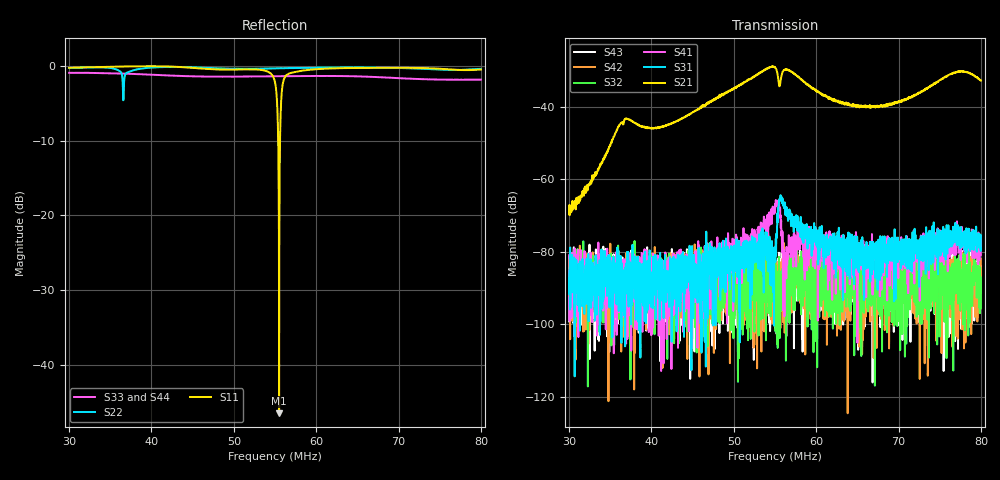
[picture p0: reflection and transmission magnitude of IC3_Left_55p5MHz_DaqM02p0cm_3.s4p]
#  HZ  S  DB  R  50.00
! Rohde & Schwarz Vector Network Analyzer
! Rohde-Schwarz,ZNB8-4Port,1311601044102961,2.82
! Created: UTC 2/13/2019, 9:01:49 AM
! freq[Hz]  db:S11  ang:S11  db:S12  ang:S12  db:S13  ang:S13  db:S14  ang:S14
!  db:S21  ang:S21  db:S22  ang:S22  db:S23  ang:S23  db:S24  ang:S24
!  db:S31  ang:S31  db:S32  ang:S32  db:S33  ang:S33  db:S34  ang:S34
!  db:S41  ang:S41  db:S42  ang:S42  db:S43  ang:S43  db:S44  ang:S44
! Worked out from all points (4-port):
!   2001 points, 30 MHz to 80 MHz, reference 50 ohm
!   strongest paths, dB at 30 MHz, 42.5 MHz, 55 MHz, 67.5 MHz, 80 MHz:
!     S21: -68.6, -44.5, -29.2, -40.1, -32.8
!     S31: -87.2, -85.4, -82.7, -87.4, -79.0
!     S41: -81.0, -101.5, -67.8, -80.4, -80.9
!     S32: -81.3, -88.7, -91.7, -88.4, -91.2
!     S42: -86.2, -92.6, -83.1, -83.2, -82.0
!     S43: -99.2, -86.4, -83.5, -91.0, -85.7
!   lowest |S11| = -46.4 dB at 55.5 MHz (marker M1), VSWR 1.01, Z = 50.3 + j0.395 ohm
!   |S11| at or under -10 dB: 55.38441 MHz to 55.6131 MHz (228.7 kHz wide, 0.412 % of centre)
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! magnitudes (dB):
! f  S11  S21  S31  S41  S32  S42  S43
! 30 MHz  -0.2  -68.6  -87.2  -81.0  -81.3  -86.2  -99.2
! 36.9 MHz  -0.1  -43.3  -83.3  -85.2  -90.8  -80.4  -93.0
! 54.83 MHz  -1.5  -29.0  -89.4  -68.2  -89.3  -82.3  -88.5
! 55.5 MHz  -46.4  -34.2  -65.6  -66.1  -96.0  -89.6  -87.6
! 56.23 MHz  -1.4  -29.8  -66.9  -85.8  -80.7  -88.7  -81.2
! 64.42 MHz  -0.3  -39.8  -81.9  -79.0  -87.2  -84.3  -89.2
! 80 MHz  -0.5  -32.8  -79.0  -80.9  -91.2  -82.0  -85.7
